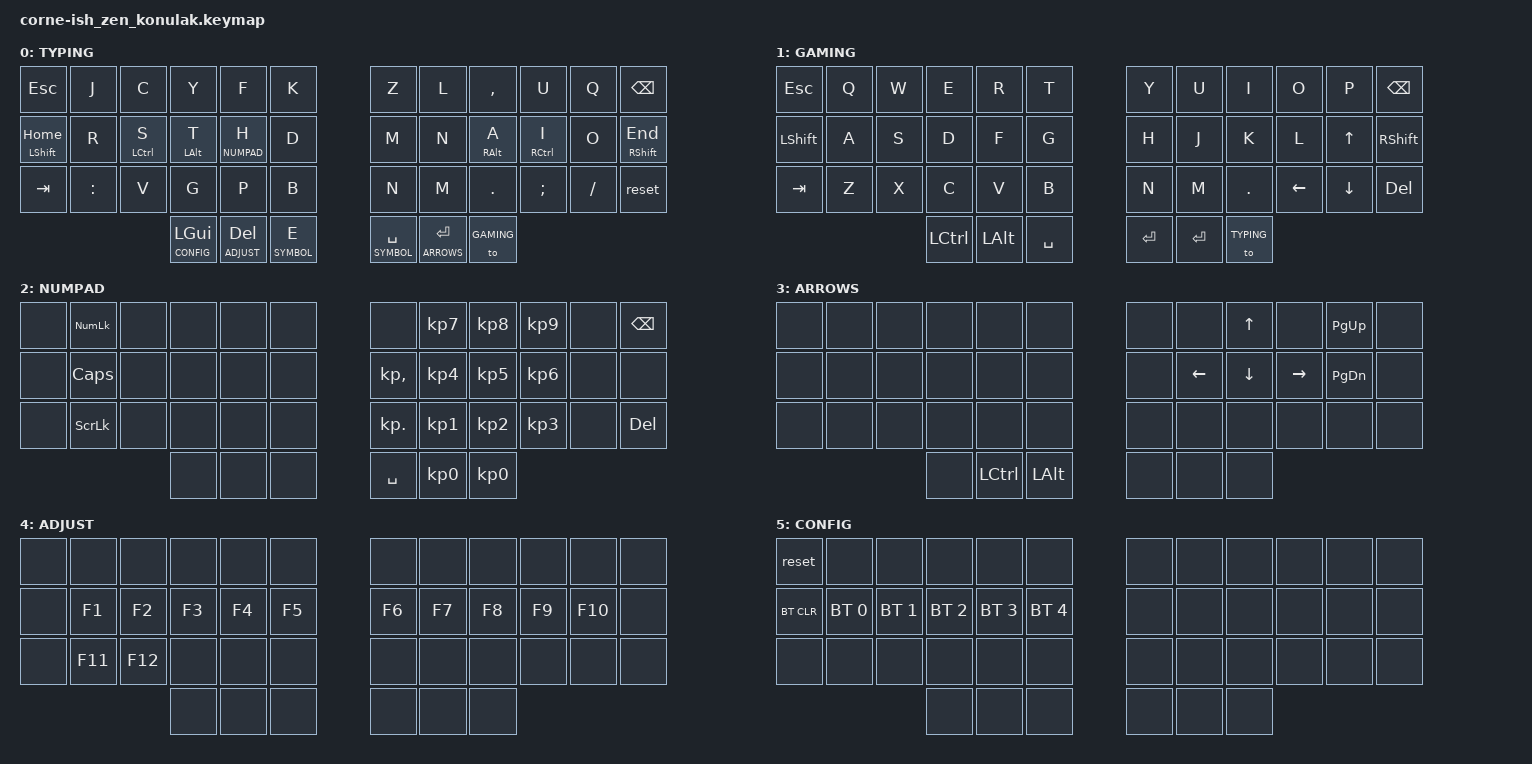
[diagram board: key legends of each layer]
/*
*
* Copyright (c) 2021 lowprokb.ca
* SPDX-License-Identifier: MIT
*
* Modified RSTHD layout by Kenneth Onulak
*/

#include <dt-bindings/zmk/keys.h>
#include <dt-bindings/zmk/bt.h>
#include <behaviors.dtsi>

#define TYPING 0
#define GAMING 1
#define NUMPAD 2
#define ARROWS 3
#define SYMBOL 4
#define ADJUST 5
#define CONFIG 6

/ {
        keymap {
                compatible = "zmk,keymap";

                default_layer {
                        label = "TYPING";
                        bindings = <
   &kp ESC        &kp J     &kp C      &kp Y      &kp F        &kp K    &kp Z &kp L &kp CMMA   &kp U      &kp Q    &kp BKSP
   &mt LSHFT HOME &kp R     &mt LCTL S &mt LALT T &lt NUMPAD H &kp D    &kp M &kp N &mt RALT A &mt RCTL I &kp O    &mt RSHFT END
   &kp TAB        &kp COLON &kp V      &kp G      &kp P        &kp B    &kp N &kp M &kp DOT    &kp SEMI   &kp FSLH &reset
                        &lt CONFIG LGUI &lt ADJUST DEL  &lt SYMBOL E    &lt SYMBOL SPC &lt ARROWS ENTER &to GAMING
                        >;
                };

                gaming_layer {
                        label = "GAMING";
                        bindings = <
   &kp ESC   &kp Q &kp W &kp E &kp R &kp T    &kp Y &kp U &kp I   &kp O    &kp P    &kp BKSP
   &kp LSHFT &kp A &kp S &kp D &kp F &kp G    &kp H &kp J &kp K   &kp L    &kp UP   &kp RSHFT
   &kp TAB   &kp Z &kp X &kp C &kp V &kp B    &kp N &kp M &kp DOT &kp LEFT &kp DOWN &kp DEL
                 &kp LCTL &kp LALT &kp SPC    &kp ENTER &kp ENTER &to TYPING
                        >;
                };

                numpad_layer {
                        label = "NUMPAD";
                        bindings = <
   &none &kp KP_NLCK &none &none &none &none    &none       &kp KP_N7 &kp KP_N8 &kp KP_N9 &none &kp BSPC
   &none &kp CAPS    &none &none &none &none    &kp KP_CMMA &kp KP_N4 &kp KP_N5 &kp KP_N6 &none &none
   &none &kp SLCK    &none &none &none &none    &kp KP_DOT  &kp KP_N1 &kp KP_N2 &kp KP_N3 &none &kp DEL
                           &none &none &none    &kp SPC &kp KP_N0 &kp KP_N0
                        >;
                };

                arrows_layer {
                        label = "ARROWS";
                        bindings = <
   &none &none &none &none &none &none    &none &none    &kp UP   &none     &kp PG_UP &none
   &none &none &none &none &none &none    &none &kp LEFT &kp DOWN &kp RIGHT &kp PG_DN &none
   &none &none &none &none &none &none    &none &none    &none    &none     &none     &none
               &none &kp LCTL &kp LALT    &none &none &none
                        >;
                };

                adjust_layer {
                        label = "ADJUST";
                        bindings = <
   &none  &none   &none   &none  &none  &none     &none  &none  &none  &none   &none   &none
   &none  &kp F1  &kp F2  &kp F3 &kp F4 &kp F5    &kp F6 &kp F7 &kp F8 &kp F9  &kp F10 &none
   &none  &kp F11 &kp F12 &none  &none  &none     &none  &none  &none  &none   &none   &none
                          &none  &none  &none     &none  &none  &none
                        >;
                };

                config_layer {
                        label = "CONFIG";
                        bindings = <
   &reset     &none        &none        &none        &none        &none           &none &none &none &none &none &none
   &bt BT_CLR &bt BT_SEL 0 &bt BT_SEL 1 &bt BT_SEL 2 &bt BT_SEL 3 &bt BT_SEL 4    &none &none &none &none &none &none
   &none      &none        &none        &none        &none        &none           &none &none &none &none &none &none
                                        &none        &none        &none           &none &none &none
                        >;
                };
        };
};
